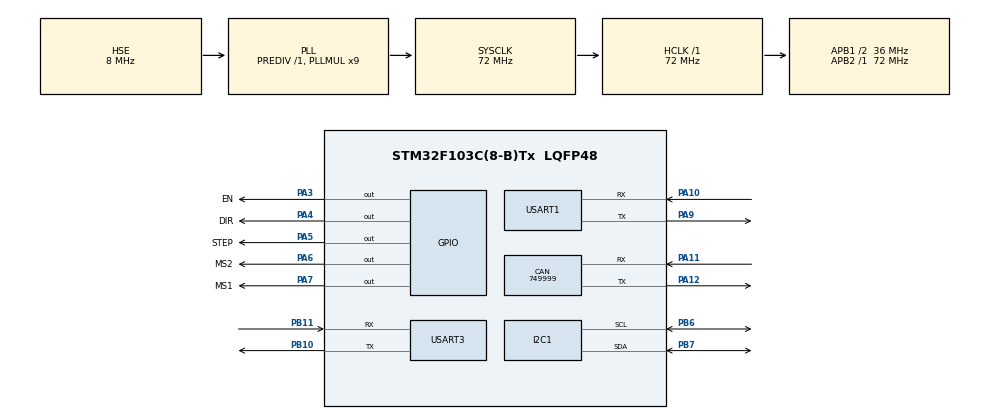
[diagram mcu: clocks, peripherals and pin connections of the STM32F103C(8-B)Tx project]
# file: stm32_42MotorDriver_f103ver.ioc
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CAN.CalculateBaudRate=749999
CAN.CalculateTimeBit=1333
CAN.CalculateTimeQuantum=444.44444444444446
Dma.Request0=USART1_RX
Dma.Request1=USART1_TX
Dma.Request2=USART3_RX
Dma.Request3=USART3_TX
Dma.USART1_RX.0.Direction=DMA_PERIPH_TO_MEMORY
Dma.USART1_RX.0.Instance=DMA1_Channel5
Dma.USART1_RX.0.MemDataAlignment=DMA_MDATAALIGN_BYTE
Dma.USART1_RX.0.MemInc=DMA_MINC_ENABLE
Dma.USART1_RX.0.Mode=DMA_CIRCULAR
Dma.USART1_RX.0.PeriphDataAlignment=DMA_PDATAALIGN_BYTE
Dma.USART1_RX.0.PeriphInc=DMA_PINC_DISABLE
Dma.USART1_RX.0.Priority=DMA_PRIORITY_LOW
Dma.USART1_TX.1.Direction=DMA_MEMORY_TO_PERIPH
Dma.USART1_TX.1.Instance=DMA1_Channel4
Dma.USART1_TX.1.MemDataAlignment=DMA_MDATAALIGN_BYTE
Dma.USART1_TX.1.MemInc=DMA_MINC_ENABLE
Dma.USART1_TX.1.Mode=DMA_NORMAL
Dma.USART1_TX.1.PeriphDataAlignment=DMA_PDATAALIGN_BYTE
Dma.USART1_TX.1.PeriphInc=DMA_PINC_DISABLE
Dma.USART1_TX.1.Priority=DMA_PRIORITY_LOW
Dma.USART3_RX.2.Direction=DMA_PERIPH_TO_MEMORY
Dma.USART3_RX.2.Instance=DMA1_Channel3
Dma.USART3_RX.2.MemDataAlignment=DMA_MDATAALIGN_BYTE
Dma.USART3_RX.2.MemInc=DMA_MINC_ENABLE
Dma.USART3_RX.2.Mode=DMA_CIRCULAR
Dma.USART3_RX.2.PeriphDataAlignment=DMA_PDATAALIGN_BYTE
Dma.USART3_RX.2.PeriphInc=DMA_PINC_DISABLE
Dma.USART3_RX.2.Priority=DMA_PRIORITY_LOW
Dma.USART3_TX.3.Direction=DMA_MEMORY_TO_PERIPH
Dma.USART3_TX.3.Instance=DMA1_Channel2
Dma.USART3_TX.3.MemDataAlignment=DMA_MDATAALIGN_BYTE
Dma.USART3_TX.3.MemInc=DMA_MINC_ENABLE
Dma.USART3_TX.3.Mode=DMA_NORMAL
Dma.USART3_TX.3.PeriphDataAlignment=DMA_PDATAALIGN_BYTE
Dma.USART3_TX.3.PeriphInc=DMA_PINC_DISABLE
Dma.USART3_TX.3.Priority=DMA_PRIORITY_LOW
Mcu.Family=STM32F1
Mcu.Name=STM32F103C(8-B)Tx
Mcu.Package=LQFP48
NVIC.DMA1_Channel2_IRQn=true\:0\:0\:false\:false\:true\:false\:true\:true
NVIC.DMA1_Channel3_IRQn=true\:0\:0\:false\:false\:true\:false\:true\:true
NVIC.DMA1_Channel4_IRQn=true\:0\:0\:false\:false\:true\:false\:true\:true
NVIC.DMA1_Channel5_IRQn=true\:0\:0\:false\:false\:true\:false\:true\:true
NVIC.I2C1_EV_IRQn=true\:0\:0\:false\:false\:true\:true\:true\:true
NVIC.PriorityGroup=NVIC_PRIORITYGROUP_4
NVIC.TIM3_IRQn=true\:0\:0\:false\:false\:true\:true\:true\:true
NVIC.USART1_IRQn=true\:0\:0\:false\:false\:true\:false\:true\:true
NVIC.USART3_IRQn=true\:0\:0\:false\:false\:true\:false\:true\:true
PA0-WKUP.Mode=SYS_WakeUp0
PA0-WKUP.Signal=SYS_WKUP
PA0-WKUP.Stacked=true
PA10.Mode=Asynchronous
PA10.Signal=USART1_RX
PA11.Mode=CAN_Activate
PA11.Signal=CAN_RX
PA12.Mode=CAN_Activate
PA12.Signal=CAN_TX
PA13.Mode=Serial_Wire
PA13.Signal=SYS_JTMS-SWDIO
PA14.Mode=Serial_Wire
PA14.Signal=SYS_JTCK-SWCLK
PA3.GPIO_Label=EN
PA3.Signal=GPIO_Output
PA4.GPIO_Label=DIR
PA4.Signal=GPIO_Output
PA5.GPIO_Label=STEP
PA5.Signal=GPIO_Output
PA6.GPIO_Label=MS2
PA6.Signal=GPIO_Output
PA7.GPIO_Label=MS1
PA7.Signal=GPIO_Output
PA9.Mode=Asynchronous
PA9.Signal=USART1_TX
PB10.Mode=Asynchronous
PB10.Signal=USART3_TX
PB11.Mode=Asynchronous
PB11.Signal=USART3_RX
PB6.Mode=I2C
PB6.Signal=I2C1_SCL
PB7.Mode=I2C
PB7.Signal=I2C1_SDA
PD0-OSC_IN.Mode=HSE-External-Oscillator
PD0-OSC_IN.Signal=RCC_OSC_IN
PD1-OSC_OUT.Mode=HSE-External-Oscillator
PD1-OSC_OUT.Signal=RCC_OSC_OUT
ProjectManager.HeapSize=0x200
ProjectManager.StackSize=0x400
ProjectManager.TargetToolchain=CMake
RCC.AHBFreq_Value=72000000
RCC.APB1CLKDivider=RCC_HCLK_DIV2
RCC.APB1Freq_Value=36000000
RCC.APB1TimFreq_Value=72000000
RCC.APB2Freq_Value=72000000
RCC.APB2TimFreq_Value=72000000
RCC.HCLKFreq_Value=72000000
RCC.PLLMUL=RCC_PLL_MUL9
RCC.PLLSourceVirtual=RCC_PLLSOURCE_HSE
RCC.SYSCLKFreq_VALUE=72000000
RCC.SYSCLKSource=RCC_SYSCLKSOURCE_PLLCLK
RCC.USBFreq_Value=72000000
TIM3.Period=65535
TIM3.Prescaler=71
USART1.VirtualMode=VM_ASYNC
USART3.VirtualMode=VM_ASYNC
VP_TIM3_VS_ClockSourceINT.Mode=Internal
board=custom

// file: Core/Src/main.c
/* USER CODE BEGIN Header */
/**
  ******************************************************************************
  * @file           : main.c
  * @brief          : Main program body
  ******************************************************************************
  * @attention
  *
  * Copyright (c) 2026 STMicroelectronics.
  * All rights reserved.
  *
  * This software is licensed under terms that can be found in the LICENSE file
  * in the root directory of this software component.
  * If no LICENSE file comes with this software, it is provided AS-IS.
  *
  ******************************************************************************
  */
/* USER CODE END Header */
#include "main.h"

/* USER CODE BEGIN Includes */
#include "mt6701.h"
#include "uart.h"
#include "tmc2209.h"
#include "motor_pid.h"
#include "motor_stepper.h"
#include <string.h>
#include <stdlib.h>
/* USER CODE END Includes */

CAN_HandleTypeDef hcan;

I2C_HandleTypeDef hi2c1;

TIM_HandleTypeDef htim3;

UART_HandleTypeDef huart1;
UART_HandleTypeDef huart3;
DMA_HandleTypeDef hdma_usart1_rx;
DMA_HandleTypeDef hdma_usart1_tx;
DMA_HandleTypeDef hdma_usart3_rx;
DMA_HandleTypeDef hdma_usart3_tx;

/* USER CODE BEGIN PV */
static uint32_t g_last_report = 0;
/* 电机 X 句柄 (全局, 供应用各模块使用) */
TMC2209_HandleTypeDef motor_x;
/* 位置闭环 PID */
MotorPID g_pid;
static uint32_t g_last_ctrl = 0;   /* PID 更新节拍 */
/* 串口命令行缓冲 */
#define CMD_BUF_SIZE 64
static char     g_cmd_buf[CMD_BUF_SIZE];
static uint16_t g_cmd_len = 0;
/* USER CODE END PV */

void SystemClock_Config(void);
static void MX_GPIO_Init(void);
static void MX_DMA_Init(void);
static void MX_CAN_Init(void);
static void MX_I2C1_Init(void);
static void MX_USART1_UART_Init(void);
static void MX_USART3_UART_Init(void);
static void MX_TIM3_Init(void);

/* USER CODE BEGIN 0 */
static void send_str(const char *s) {
    uint16_t w;
    UART_Send(UART_P1, (const uint8_t *)s, (uint16_t)strlen(s), &w);
}

static void send_putdec(uint32_t n) {
    char buf[12]; uint8_t i = 0;
    if (n == 0) { send_str("0"); return; }
    while (n) { buf[i++] = (char)('0' + (n % 10)); n /= 10; }
    for (uint8_t j = 0; j < i / 2; j++) {
        char t = buf[j]; buf[j] = buf[i - 1 - j]; buf[i - 1 - j] = t;
    }
    buf[i] = 0;
    send_str(buf);
}

/* 输出浮点数, 2 位小数, 带符号, 如 "-12.34" */
static void send_putfloat(float v) {
    uint32_t ip, dp;
    if (v < 0.0f) { send_str("-"); v = -v; }
    ip = (uint32_t)v;
    dp = (uint32_t)((v - (float)ip) * 100.0f + 0.5f);
    if (dp >= 100) { dp -= 100; ip++; }
    send_putdec(ip);
    send_str(".");
    if (dp < 10) send_str("0");
    send_putdec(dp);
}

/* 输出 0~360° 一位小数, 如 "117.3" */
static void send_putdeg(float deg) {
    while (deg >= 360.0f) deg -= 360.0f;
    while (deg < 0.0f)    deg += 360.0f;
    send_putfloat(deg);
}

/* ── 串口命令行 (Linux tty 风格) ── */
static void send_line(const char *s) {
    send_str(s);
    send_str("\r\n");
}

/* 执行一行命令 */
static void motor_cmd_process(char *line) {
    char *cmd = line, *arg;
    long v;

    while (*cmd == ' ' || *cmd == '\t') cmd++;
    arg = cmd;
    while (*arg && *arg != ' ' && *arg != '\t') arg++;
    if (*arg) { *arg = 0; arg++; }
    while (*arg == ' ' || *arg == '\t') arg++;

    if (strcmp(cmd, "help") == 0 || strcmp(cmd, "?") == 0) {
        send_line("cmds:");
        send_line("  enable 0/1 | ms 8/16/32/64 | dir 0/1 | step N");
        send_line("  pos <deg 0-360>      set PID target & lock");
        send_line("  pid on/off           enable/disable PID");
        send_line("  pkp <v> pki <v> pkd <v>   online tune gains");
        return;
    }
    if (strcmp(cmd, "enable") == 0) {
        v = strtol(arg, NULL, 10);
        if (v) { TMC2209_Enable(&motor_x); }
        else { MotorStepper_Stop(); TMC2209_Disable(&motor_x); }
        send_str("OK: enabled="); send_putdec(motor_x.enabled); send_line("");
        return;
    }
    if (strcmp(cmd, "ms") == 0) {
        int old_ms = 8, new_ms = 8;
        v = strtol(arg, NULL, 10);
        switch (motor_x.microstep) {   /* 当前细分 → 数值 */
            case TMC2209_MICROSTEP_16: old_ms = 16; break;
            case TMC2209_MICROSTEP_32: old_ms = 32; break;
            case TMC2209_MICROSTEP_64: old_ms = 64; break;
            default: old_ms = 8; break;
        }
        switch (v) {
            case 8:  TMC2209_SetMicrostep(&motor_x, TMC2209_MICROSTEP_8);  new_ms = 8;  break;
            case 16: TMC2209_SetMicrostep(&motor_x, TMC2209_MICROSTEP_16); new_ms = 16; break;
            case 32: TMC2209_SetMicrostep(&motor_x, TMC2209_MICROSTEP_32); new_ms = 32; break;
            case 64: TMC2209_SetMicrostep(&motor_x, TMC2209_MICROSTEP_64); new_ms = 64; break;
            default: send_line("ERR: ms must be 8/16/32/64"); return;
        }
        /* 细分变化 → PID 重标定 (速度/增益按比例, 物理行为不变) */
        if (new_ms != old_ms)
            MotorPID_RescaleMicrostep(&g_pid, (float)old_ms, (float)new_ms);
        send_str("OK: microstep="); send_putdec((uint32_t)v); send_line("");
        return;
    }
    if (strcmp(cmd, "dir") == 0) {
        v = strtol(arg, NULL, 10);
        if (v != 0 && v != 1) { send_line("ERR: dir must be 0/1"); return; }
        TMC2209_SetDirection(&motor_x, (TMC2209_Dir)v);
        send_str("OK: dir="); send_putdec(motor_x.dir); send_line("");
        return;
    }
    if (strcmp(cmd, "step") == 0) {
        v = strtol(arg, NULL, 10);
        if (v <= 0) { send_line("ERR: step must be > 0"); return; }
        if (g_pid.enabled) { send_line("ERR: pid active, 'pid off' first"); return; }
        if (!motor_x.enabled) send_line("WARN: motor disabled, send 'enable 1' to make it move");
        MotorStepper_MoveSteps((uint32_t)v, 500);   /* 非阻塞, 500 steps/s */
        send_str("OK: moving "); send_putdec((uint32_t)v); send_line(" steps");
        return;
    }
    if (strcmp(cmd, "pos") == 0) {
        float target = strtof(arg, NULL);
        if (target < 0.0f || target >= 360.0f) { send_line("ERR: pos must be 0~359.9"); return; }
        TMC2209_Enable(&motor_x);
        MotorPID_SetTarget(&g_pid, target);
        send_str("OK: target="); send_putdeg(g_pid.target); send_line("");
        return;
    }
    if (strcmp(cmd, "pid") == 0) {
        if (strcmp(arg, "off") == 0) {
            MotorPID_Disable(&g_pid);
            MotorStepper_Stop();
            send_line("OK: pid off");
            return;
        }
        if (strcmp(arg, "on") == 0) {
            MotorPID_SetTarget(&g_pid, g_pid.target);   /* 干净重启用, 无 kick */
            TMC2209_Enable(&motor_x);
            send_line("OK: pid on");
            return;
        }
        send_str("  kp="); send_putfloat(g_pid.kp);
        send_str(" ki="); send_putfloat(g_pid.ki);
        send_str(" kd="); send_putfloat(g_pid.kd);
        send_str(" en="); send_putdec(g_pid.enabled); send_line("");
        return;
    }
    if (strcmp(cmd, "pkp") == 0) {
        g_pid.kp = strtof(arg, NULL);
        send_str("OK: kp="); send_putfloat(g_pid.kp); send_line("");
        return;
    }
    if (strcmp(cmd, "pki") == 0) {
        g_pid.ki = strtof(arg, NULL);
        send_str("OK: ki="); send_putfloat(g_pid.ki); send_line("");
        return;
    }
    if (strcmp(cmd, "pkd") == 0) {
        g_pid.kd = strtof(arg, NULL);
        send_str("OK: kd="); send_putfloat(g_pid.kd); send_line("");
        return;
    }
    send_line("ERR: unknown command (help)");
}

/* 逐字节接收: 累积到换行后执行命令 */
static void cmd_rx_cb(UART_Port port, uint8_t *data, uint16_t len) {
    (void)port;
    while (len--) {
        char c = (char)*data++;
        if (c == '\n' || c == '\r') {
            if (g_cmd_len > 0) {
                g_cmd_buf[g_cmd_len] = 0;
                g_cmd_len = 0;
                motor_cmd_process(g_cmd_buf);
                send_str("> ");   /* tty 提示符 */
            }
        } else if (g_cmd_len < CMD_BUF_SIZE - 1) {
            g_cmd_buf[g_cmd_len++] = c;
        }
    }
}
/* USER CODE END 0 */

int main(void)
{

  /* MCU Configuration--------------------------------------------------------*/

  /* Reset of all peripherals, Initializes the Flash interface and the Systick. */
  HAL_Init();

  /* Configure the system clock */
  SystemClock_Config();

  /* Initialize all configured peripherals */
  MX_GPIO_Init();
  MX_DMA_Init();
  MX_CAN_Init();
  MX_I2C1_Init();
  MX_USART1_UART_Init();
  MX_USART3_UART_Init();
  MX_TIM3_Init();
  /* USER CODE BEGIN 2 */

  /* 通用串口库: 基于 CubeMX 的 HAL_UART + DMA 环形接收 */
  UART_Init();
  if (UART_Open(UART_P1) != UART_OK) {
      Error_Handler();
  }

  send_str("\r\n=== 42Motor Angle (STM32F103) ===\r\n");

  send_str("MT6701: ");
  {
      int ok = 0, try;
      for (try = 0; try < 3; try++) {   /* 热插拔可能导致 I2C BUSY, 重试 */
          if (MT6701_Init() == 0) { ok = 1; break; }
          HAL_Delay(100);
      }
      if (!ok) {
          send_str("FAILED (no sensor?)\r\n");
          while (1) { UART_Task(); }
      }
  }
  send_str("OK\r\n");

  /* 注册电机 X 实例: 绑定 CubeMX 生成的 GPIO (MX_GPIO_Init 已配好引脚/时钟) */
  TMC2209_Init(&motor_x, &(TMC2209_PinConfig){
      .en   = {EN_GPIO_Port,   EN_Pin},
      .step = {STEP_GPIO_Port, STEP_Pin},
      .dir  = {DIR_GPIO_Port,  DIR_Pin},
      .ms1  = {MS1_GPIO_Port,  MS1_Pin},
      .ms2  = {MS2_GPIO_Port,  MS2_Pin},
  });
  send_str("MOTOR_X: registered\r\n");

  /* STEP 脉冲引擎: TIM3 硬件定时器非阻塞产生脉冲 */
  MotorStepper_Init(&motor_x, &htim3);

  /* 注册串口命令帧 (逐字节, 换行触发) */
  static UART_Frame cmd_frame = {
      .header_len = 0,
      .callback   = cmd_rx_cb,
  };
  UART_RegisterFrame(UART_P1, &cmd_frame);

  send_line("--- motor debug shell ---");
  send_line("> enable 0/1 | ms 8/16/32/64 | dir 0/1 | step N | pos <deg> | pid | pkp/pki/pkd | help");
  send_str("> ");

  /* 位置闭环 PID 初始化 */
  MotorPID_Init(&g_pid);
  g_last_ctrl = HAL_GetTick();
  g_last_report = HAL_GetTick();
  /* USER CODE END 2 */

  /* Infinite loop */
  while (1)
  {

    /* USER CODE BEGIN 3 */
    UART_Task();

    /* 5ms PID 更新: 读角度 → PID → 更新速度参考.
       STEP 脉冲由硬件定时器独立生成, 此处只更新定时器频率/方向, 不阻塞 */
    if (HAL_GetTick() - g_last_ctrl >= 5) {
        uint32_t dt_ms = HAL_GetTick() - g_last_ctrl;
        g_last_ctrl = HAL_GetTick();
        MotorPID_Update(&g_pid, MT6701_ReadDegrees(), (float)dt_ms * 0.001f);
        MotorStepper_SetVelocity(g_pid.vel_ref);
    }

    /* 每 10ms 输出 VOFA+ firewater:
       angle,target,error,vel_cmd,vel_ref,d_term,i_term */
    if (HAL_GetTick() - g_last_report >= 10) {
        g_last_report = HAL_GetTick();
        send_putfloat(MT6701_ReadDegrees());
        send_str(",");
        send_putfloat(g_pid.target);
        send_str(",");
        send_putfloat(MotorPID_GetError(&g_pid));
        send_str(",");
        send_putfloat(g_pid.vel_cmd);
        send_str(",");
        send_putfloat(g_pid.vel_ref);
        send_str(",");
        send_putfloat(g_pid.d_term);
        send_str(",");
        send_putfloat(g_pid.i_term);
        send_str("\r\n");
    }
  }
  /* USER CODE END 3 */
}

void SystemClock_Config(void)
{
  RCC_OscInitTypeDef RCC_OscInitStruct = {0};
  RCC_ClkInitTypeDef RCC_ClkInitStruct = {0};

  /** Initializes the RCC Oscillators according to the specified parameters
  * in the RCC_OscInitTypeDef structure.
  */
  RCC_OscInitStruct.OscillatorType = RCC_OSCILLATORTYPE_HSE;
  RCC_OscInitStruct.HSEState = RCC_HSE_ON;
  RCC_OscInitStruct.HSEPredivValue = RCC_HSE_PREDIV_DIV1;
  RCC_OscInitStruct.HSIState = RCC_HSI_ON;
  RCC_OscInitStruct.PLL.PLLState = RCC_PLL_ON;
  RCC_OscInitStruct.PLL.PLLSource = RCC_PLLSOURCE_HSE;
  RCC_OscInitStruct.PLL.PLLMUL = RCC_PLL_MUL9;
  if (HAL_RCC_OscConfig(&RCC_OscInitStruct) != HAL_OK)
  {
    Error_Handler();
  }

  /** Initializes the CPU, AHB and APB buses clocks
  */
  RCC_ClkInitStruct.ClockType = RCC_CLOCKTYPE_HCLK|RCC_CLOCKTYPE_SYSCLK
                              |RCC_CLOCKTYPE_PCLK1|RCC_CLOCKTYPE_PCLK2;
  RCC_ClkInitStruct.SYSCLKSource = RCC_SYSCLKSOURCE_PLLCLK;
  RCC_ClkInitStruct.AHBCLKDivider = RCC_SYSCLK_DIV1;
  RCC_ClkInitStruct.APB1CLKDivider = RCC_HCLK_DIV2;
  RCC_ClkInitStruct.APB2CLKDivider = RCC_HCLK_DIV1;

  if (HAL_RCC_ClockConfig(&RCC_ClkInitStruct, FLASH_LATENCY_2) != HAL_OK)
  {
    Error_Handler();
  }
}

static void MX_CAN_Init(void)
{

  hcan.Instance = CAN1;
  hcan.Init.Prescaler = 16;
  hcan.Init.Mode = CAN_MODE_NORMAL;
  hcan.Init.SyncJumpWidth = CAN_SJW_1TQ;
  hcan.Init.TimeSeg1 = CAN_BS1_1TQ;
  hcan.Init.TimeSeg2 = CAN_BS2_1TQ;
  hcan.Init.TimeTriggeredMode = DISABLE;
  hcan.Init.AutoBusOff = DISABLE;
  hcan.Init.AutoWakeUp = DISABLE;
  hcan.Init.AutoRetransmission = DISABLE;
  hcan.Init.ReceiveFifoLocked = DISABLE;
  hcan.Init.TransmitFifoPriority = DISABLE;
  if (HAL_CAN_Init(&hcan) != HAL_OK)
  {
    Error_Handler();
  }

}

static void MX_I2C1_Init(void)
{

  hi2c1.Instance = I2C1;
  hi2c1.Init.ClockSpeed = 100000;
  hi2c1.Init.DutyCycle = I2C_DUTYCYCLE_2;
  hi2c1.Init.OwnAddress1 = 0;
  hi2c1.Init.AddressingMode = I2C_ADDRESSINGMODE_7BIT;
  hi2c1.Init.DualAddressMode = I2C_DUALADDRESS_DISABLE;
  hi2c1.Init.OwnAddress2 = 0;
  hi2c1.Init.GeneralCallMode = I2C_GENERALCALL_DISABLE;
  hi2c1.Init.NoStretchMode = I2C_NOSTRETCH_DISABLE;
  if (HAL_I2C_Init(&hi2c1) != HAL_OK)
  {
    Error_Handler();
  }

}

static void MX_TIM3_Init(void)
{

  TIM_ClockConfigTypeDef sClockSourceConfig = {0};
  TIM_MasterConfigTypeDef sMasterConfig = {0};

  htim3.Instance = TIM3;
  htim3.Init.Prescaler = 71;
  htim3.Init.CounterMode = TIM_COUNTERMODE_UP;
  htim3.Init.Period = 65535;
  htim3.Init.ClockDivision = TIM_CLOCKDIVISION_DIV1;
  htim3.Init.AutoReloadPreload = TIM_AUTORELOAD_PRELOAD_DISABLE;
  if (HAL_TIM_Base_Init(&htim3) != HAL_OK)
  {
    Error_Handler();
  }
  sClockSourceConfig.ClockSource = TIM_CLOCKSOURCE_INTERNAL;
  if (HAL_TIM_ConfigClockSource(&htim3, &sClockSourceConfig) != HAL_OK)
  {
    Error_Handler();
  }
  sMasterConfig.MasterOutputTrigger = TIM_TRGO_RESET;
  sMasterConfig.MasterSlaveMode = TIM_MASTERSLAVEMODE_DISABLE;
  if (HAL_TIMEx_MasterConfigSynchronization(&htim3, &sMasterConfig) != HAL_OK)
  {
    Error_Handler();
  }

}

static void MX_USART1_UART_Init(void)
{

  huart1.Instance = USART1;
  huart1.Init.BaudRate = 115200;
  huart1.Init.WordLength = UART_WORDLENGTH_8B;
  huart1.Init.StopBits = UART_STOPBITS_1;
  huart1.Init.Parity = UART_PARITY_NONE;
  huart1.Init.Mode = UART_MODE_TX_RX;
  huart1.Init.HwFlowCtl = UART_HWCONTROL_NONE;
  huart1.Init.OverSampling = UART_OVERSAMPLING_16;
  if (HAL_UART_Init(&huart1) != HAL_OK)
  {
    Error_Handler();
  }

}

static void MX_USART3_UART_Init(void)
{

  huart3.Instance = USART3;
  huart3.Init.BaudRate = 115200;
  huart3.Init.WordLength = UART_WORDLENGTH_8B;
  huart3.Init.StopBits = UART_STOPBITS_1;
  huart3.Init.Parity = UART_PARITY_NONE;
  huart3.Init.Mode = UART_MODE_TX_RX;
  huart3.Init.HwFlowCtl = UART_HWCONTROL_NONE;
  huart3.Init.OverSampling = UART_OVERSAMPLING_16;
  if (HAL_UART_Init(&huart3) != HAL_OK)
  {
    Error_Handler();
  }

}

static void MX_DMA_Init(void)
{

  /* DMA controller clock enable */
  __HAL_RCC_DMA1_CLK_ENABLE();

  /* DMA interrupt init */
  /* DMA1_Channel2_IRQn interrupt configuration */
  HAL_NVIC_SetPriority(DMA1_Channel2_IRQn, 0, 0);
  HAL_NVIC_EnableIRQ(DMA1_Channel2_IRQn);
  /* DMA1_Channel3_IRQn interrupt configuration */
  HAL_NVIC_SetPriority(DMA1_Channel3_IRQn, 0, 0);
  HAL_NVIC_EnableIRQ(DMA1_Channel3_IRQn);
  /* DMA1_Channel4_IRQn interrupt configuration */
  HAL_NVIC_SetPriority(DMA1_Channel4_IRQn, 0, 0);
  HAL_NVIC_EnableIRQ(DMA1_Channel4_IRQn);
  /* DMA1_Channel5_IRQn interrupt configuration */
  HAL_NVIC_SetPriority(DMA1_Channel5_IRQn, 0, 0);
  HAL_NVIC_EnableIRQ(DMA1_Channel5_IRQn);

}

static void MX_GPIO_Init(void)
{
  GPIO_InitTypeDef GPIO_InitStruct = {0};

  /* GPIO Ports Clock Enable */
  __HAL_RCC_GPIOD_CLK_ENABLE();
  __HAL_RCC_GPIOA_CLK_ENABLE();
  __HAL_RCC_GPIOB_CLK_ENABLE();

  /*Configure GPIO pin Output Level */
  HAL_GPIO_WritePin(GPIOA, EN_Pin|DIR_Pin|STEP_Pin|MS2_Pin
                          |MS1_Pin, GPIO_PIN_RESET);

  /*Configure GPIO pins : EN_Pin DIR_Pin STEP_Pin MS2_Pin
                           MS1_Pin */
  GPIO_InitStruct.Pin = EN_Pin|DIR_Pin|STEP_Pin|MS2_Pin
                          |MS1_Pin;
  GPIO_InitStruct.Mode = GPIO_MODE_OUTPUT_PP;
  GPIO_InitStruct.Pull = GPIO_NOPULL;
  GPIO_InitStruct.Speed = GPIO_SPEED_FREQ_LOW;
  HAL_GPIO_Init(GPIOA, &GPIO_InitStruct);

}

void Error_Handler(void)
{
  __disable_irq();
  while (1)
  {
  }
}
